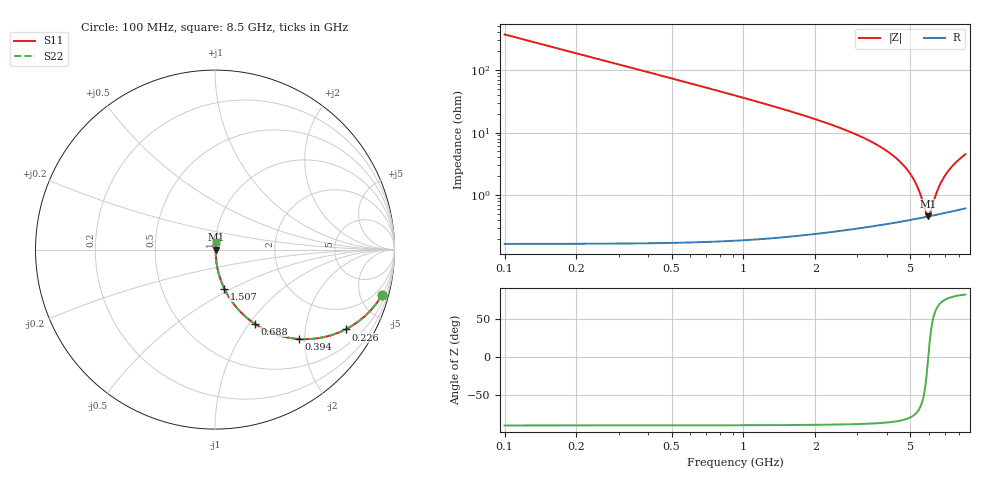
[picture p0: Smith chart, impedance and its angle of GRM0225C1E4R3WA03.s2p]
!Murata Part Number: GRM0225C1E4R3WA03
!These Parameters are Measured in Series Mode Connection
!Data Generated on Mar 30, 2021
!  o--ll--o
!Port1  Port2
!  o------o
!Operation Temp=25[degC], DC Bias Voltage=0[V]
!Freq. Start=100[MHz] Stop=9[GHz] 401[Steps]
# Hz S RI R 50
!Freq.(Hz) S11(Real) S11(Imag) S21(Real) S21(Imag) S12(Real) S12(Imag) S22(Real) S22(Imag)
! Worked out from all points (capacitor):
!   401 points, 100 MHz to 8.5 GHz, reference 50 ohm
!   read as one part in series: C = 4.3 pF near 142 MHz
!   lowest |Z| = 454 mohm at 5.938 GHz (marker M1)
!   series resonance near 5.943 GHz, so ESL is about 170 pH
!   S11 on the Smith chart (normalised r, x): 100 MHz: 1.00, -7.40; 226 MHz: 1.00, -3.27; 394 MHz: 1.00, -1.87; 688 MHz: 1.00, -1.06; 1.507 GHz: 1.00, -0.46; 8.5 GHz: 1.01, +0.09
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1e8  0.9318 -0.2518  0.0682 0.2518  0.0682 0.2518  0.9318 -0.2518
2.26e8  0.7276 -0.4447  0.2724 0.4447  0.2724 0.4447  0.7276 -0.4447
3.1e8  0.5862 -0.4918  0.4138 0.4918  0.4138 0.4918  0.5862 -0.4918
3.94e8  0.4665 -0.498  0.5335 0.498  0.5335 0.498  0.4665 -0.498
5.2e8  0.3331 -0.4701  0.6669 0.4701  0.6669 0.4701  0.3331 -0.4701
6.88e8  0.2203 -0.4128  0.7797 0.4128  0.7797 0.4128  0.2203 -0.4128
1.024e9  0.1106 -0.3109  0.8894 0.3109  0.8894 0.3109  0.1106 -0.3109
1.507e9  0.0517 -0.2169  0.9483 0.2169  0.9483 0.2169  0.0517 -0.2169
2.914e9  0.0119 -0.0944  0.9881 0.0944  0.9881 0.0944  0.0119 -0.0944
4.3e9  0.00522 -0.0402  0.9948 0.0402  0.9948 0.0402  0.00522 -0.0402
4.762e9  0.00459 -0.0273  0.9954 0.0273  0.9954 0.0273  0.00459 -0.0273
5.14e9  0.00437 -0.0178  0.9956 0.0178  0.9956 0.0178  0.00437 -0.0178
5.434e9  0.00434 -0.0109  0.9957 0.0109  0.9957 0.0109  0.00434 -0.0109
5.707e9  0.00441 -0.00493  0.9956 0.00493  0.9956 0.00493  0.00441 -0.00493
5.854e9  0.00447 -0.00184  0.9955 0.00184  0.9955 0.00184  0.00447 -0.00184
5.938e9  0.00452 -0.000107  0.9955 0.000107  0.9955 0.000107  0.00452 -0.000107
6.043e9  0.00458 0.00202  0.9954 -0.00202  0.9954 -0.00202  0.00458 0.00202
6.337e9  0.00482 0.00778  0.9952 -0.00778  0.9952 -0.00778  0.00482 0.00778
6.547e9  0.00502 0.0117  0.995 -0.0117  0.995 -0.0117  0.00502 0.0117
7.114e9  0.00571 0.0218  0.9943 -0.0218  0.9943 -0.0218  0.00571 0.0218
7.723e9  0.00662 0.0319  0.9934 -0.0319  0.9934 -0.0319  0.00662 0.0319
8.5e9  0.00801 0.0438  0.992 -0.0438  0.992 -0.0438  0.00801 0.0438
